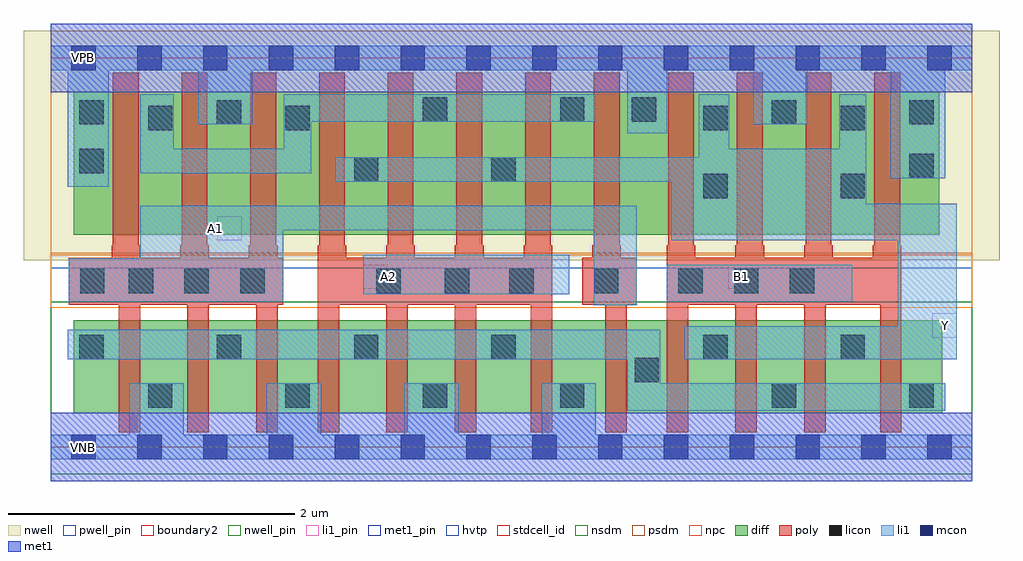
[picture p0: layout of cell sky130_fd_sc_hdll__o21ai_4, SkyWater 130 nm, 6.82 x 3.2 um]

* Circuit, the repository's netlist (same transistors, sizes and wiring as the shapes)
* Copyright 2020 The SkyWater PDK Authors
*
* Licensed under the Apache License, Version 2.0 (the "License");
* you may not use this file except in compliance with the License.
* You may obtain a copy of the License at
*
*     https://www.apache.org/licenses/LICENSE-2.0
*
* Unless required by applicable law or agreed to in writing, software
* distributed under the License is distributed on an "AS IS" BASIS,
* WITHOUT WARRANTIES OR CONDITIONS OF ANY KIND, either express or implied.
* See the License for the specific language governing permissions and
* limitations under the License.
*
* SPDX-License-Identifier: Apache-2.0

.SUBCKT sky130_fd_sc_hdll__o21ai_4 A1 A2 B1 VGND VNB VPB VPWR Y
*.PININFO A1:I A2:I B1:I VGND:I VNB:I VPB:I VPWR:I Y:O
MMPA0 VPWR A1 sndA1 VPB sky130_fd_pr__pfet_01v8_hvt m=4 w=1.0U l=0.18U mult=1 sa=0.265
+ sb=0.265 sd=0.28 area=0.063 perim=1.14
MMPA1 sndA1 A2 Y VPB sky130_fd_pr__pfet_01v8_hvt m=4 w=1.0U l=0.18U mult=1 sa=0.265
+ sb=0.265 sd=0.28 area=0.063 perim=1.14
MMPB0 VPWR B1 Y VPB sky130_fd_pr__pfet_01v8_hvt m=4 w=1.0U l=0.18U mult=1 sa=0.265
+ sb=0.265 sd=0.28 area=0.063 perim=1.14
MMNA0 pndA A1 VGND VNB sky130_fd_pr__nfet_01v8 m=4 w=0.65U l=0.15U mult=1 sa=0.265
+ sb=0.265 sd=0.28 area=0.063 perim=1.14
MMNA1 pndA A2 VGND VNB sky130_fd_pr__nfet_01v8 m=4 w=0.65U l=0.15U mult=1 sa=0.265
+ sb=0.265 sd=0.28 area=0.063 perim=1.14
MMNB0 Y B1 pndA VNB sky130_fd_pr__nfet_01v8 m=4 w=0.65U l=0.15U mult=1 sa=0.265
+ sb=0.265 sd=0.28 area=0.063 perim=1.14
.ENDS sky130_fd_sc_hdll__o21ai_4

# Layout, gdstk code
import gdstk
lib = gdstk.Library(unit=1e-6, precision=1e-09)
def R(c, l, rs):  # rectangles x0, y0, x1, y1
    for r in rs: c.add(gdstk.rectangle(r[:2], r[2:], *l))
def A(c, l, x, y, w, h, nx, ny, dx, dy):  # array of equal rectangles
    R(c, l, [(x+i*dx, y+j*dy, x+i*dx+w, y+j*dy+h) for i in range(nx) for j in range(ny)])
def P(c, l, *ps):  # polygons
    for p in ps: c.add(gdstk.Polygon(p, *l))
nwell_pin = (64, 16)
nwell = (64, 20)
diff = (65, 20)
poly = (66, 20)
licon = (66, 44)
li1_pin = (67, 16)
li1 = (67, 20)
mcon = (67, 44)
met1_pin = (68, 16)
met1 = (68, 20)
hvtp = (78, 44)
stdcell_id = (81, 4)
nsdm = (93, 44)
psdm = (94, 20)
npc = (95, 20)
pwell_pin = (122, 16)
boundary2 = (236, 0)

sky130_fd_sc_hdll__o21ai = lib.new_cell('sky130_fd_sc_hdll__o21ai_4')
R(sky130_fd_sc_hdll__o21ai, nwell_pin, [(0.145,2.635,0.315,2.805)])
R(sky130_fd_sc_hdll__o21ai, nwell, [(-0.19,1.305,6.63,2.91)])
R(sky130_fd_sc_hdll__o21ai, diff, [(0.16,0.235,6.23,0.885), (0.16,1.485,6.21,2.485)])
P(sky130_fd_sc_hdll__o21ai, poly, [(1.625,1.325),(1.585,1.325),(1.585,1.41),(1.575,1.41),(1.575,2.615),(1.395,2.615),(1.395,1.41),(1.385,1.41),(1.385,1.325),(1.105,1.325),(1.105,1.41),(1.095,1.41),(1.095,2.615),(0.915,2.615),(0.915,1.41),(0.905,1.41),(0.905,1.325),(0.625,1.325),(0.625,1.41),(0.615,1.41),(0.615,2.615),(0.435,2.615),(0.435,1.41),(0.425,1.41),(0.425,1.325),(0.125,1.325),(0.125,0.995),(0.475,0.995),(0.475,0.105),(0.625,0.105),(0.625,0.995),(0.955,0.995),(0.955,0.105),(1.105,0.105),(1.105,0.995),(1.435,0.995),(1.435,0.105),(1.585,0.105),(1.585,0.995),(1.625,0.995)],
  [(3.505,1.41),(3.495,1.41),(3.495,2.615),(3.315,2.615),(3.315,1.41),(3.305,1.41),(3.305,1.325),(3.025,1.325),(3.025,1.41),(3.015,1.41),(3.015,2.615),(2.835,2.615),(2.835,1.41),(2.825,1.41),(2.825,1.325),(2.545,1.325),(2.545,1.41),(2.535,1.41),(2.535,2.615),(2.355,2.615),(2.355,1.41),(2.345,1.41),(2.345,1.325),(2.065,1.325),(2.065,1.41),(2.055,1.41),(2.055,2.615),(1.875,2.615),(1.875,1.41),(1.865,1.41),(1.865,0.105),(2.015,0.105),(2.015,0.995),(2.345,0.995),(2.345,0.105),(2.495,0.105),(2.495,0.995),(2.825,0.995),(2.825,0.105),(2.975,0.105),(2.975,0.995),(3.355,0.995),(3.355,0.105),(3.505,0.105)],
  [(4.095,1.325),(3.985,1.325),(3.985,1.41),(3.975,1.41),(3.975,2.615),(3.795,2.615),(3.795,1.41),(3.785,1.41),(3.785,1.325),(3.715,1.325),(3.715,0.995),(3.875,0.995),(3.875,0.105),(4.025,0.105),(4.025,0.995),(4.095,0.995)],
  [(5.945,1.41),(5.935,1.41),(5.935,2.615),(5.755,2.615),(5.755,1.41),(5.745,1.41),(5.745,1.325),(5.465,1.325),(5.465,1.41),(5.455,1.41),(5.455,2.615),(5.275,2.615),(5.275,1.41),(5.265,1.41),(5.265,1.325),(4.985,1.325),(4.985,1.41),(4.975,1.41),(4.975,2.615),(4.795,2.615),(4.795,1.41),(4.785,1.41),(4.785,1.325),(4.505,1.325),(4.505,1.41),(4.495,1.41),(4.495,2.615),(4.315,2.615),(4.315,1.41),(4.305,1.41),(4.305,0.105),(4.455,0.105),(4.455,0.995),(4.785,0.995),(4.785,0.105),(4.935,0.105),(4.935,0.995),(5.265,0.995),(5.265,0.105),(5.415,0.105),(5.415,0.995),(5.795,0.995),(5.795,0.105),(5.945,0.105)])
A(sky130_fd_sc_hdll__o21ai, licon, 0.68, 0.275, 0.17, 0.17, 4, 1, 0.96, 0)
A(sky130_fd_sc_hdll__o21ai, licon, 0.2, 0.615, 0.17, 0.17, 4, 1, 0.96, 0)
A(sky130_fd_sc_hdll__o21ai, licon, 0.545, 1.075, 0.17, 0.17, 3, 1, 0.39, 0)
A(sky130_fd_sc_hdll__o21ai, licon, 3.205, 1.075, 0.17, 0.17, 3, 1, 0.59, 0)
R(sky130_fd_sc_hdll__o21ai, licon, [(5.04,0.275,5.21,0.445), (6,0.275,6.17,0.445), (4.08,0.455,4.25,0.625), (4.56,0.615,4.73,0.785), (5.52,0.615,5.69,0.785), (0.205,1.075,0.375,1.245), (2.275,1.075,2.445,1.245), (2.755,1.075,2.925,1.245), (4.775,1.075,4.945,1.245), (5.165,1.075,5.335,1.245), (4.56,1.74,4.73,1.91), (5.52,1.74,5.69,1.91), (2.12,1.855,2.29,2.025), (3.08,1.855,3.25,2.025), (6,1.88,6.17,2.05), (0.2,1.915,0.37,2.085), (0.68,2.215,0.85,2.385), (1.64,2.215,1.81,2.385), (4.56,2.215,4.73,2.385), (5.52,2.215,5.69,2.385), (0.2,2.255,0.37,2.425), (1.16,2.255,1.33,2.425), (5.04,2.255,5.21,2.425), (6,2.255,6.17,2.425), (2.6,2.275,2.77,2.445), (3.56,2.275,3.73,2.445), (4.06,2.275,4.23,2.445)])
R(sky130_fd_sc_hdll__o21ai, li1_pin, [(6.16,0.765,6.33,0.935), (2.185,1.105,2.355,1.275), (4.735,1.105,4.905,1.275), (1.165,1.445,1.335,1.615)])
R(sky130_fd_sc_hdll__o21ai, li1, [(4.305,1.015,5.6,1.275), (2.185,1.07,3.625,1.345)])
P(sky130_fd_sc_hdll__o21ai, li1, [(6.44,0.085),(3.81,0.085),(3.81,0.445),(3.43,0.445),(3.43,0.085),(2.85,0.085),(2.85,0.445),(2.47,0.445),(2.47,0.085),(1.89,0.085),(1.89,0.445),(1.51,0.445),(1.51,0.085),(0.93,0.085),(0.93,0.445),(0.55,0.445),(0.55,0.085),(0,0.085),(0,-0.085),(6.44,-0.085)],
  [(6.44,2.805),(0,2.805),(0,2.635),(0.12,2.635),(0.12,1.82),(0.405,1.82),(0.405,2.635),(1.03,2.635),(1.03,2.255),(1.41,2.255),(1.41,2.635),(4.03,2.635),(4.03,2.195),(4.31,2.195),(4.31,2.635),(4.91,2.635),(4.91,2.255),(5.29,2.255),(5.29,2.635),(5.87,2.635),(5.87,1.88),(6.25,1.88),(6.25,2.635),(6.44,2.635)],
  [(3.81,2.465),(1.63,2.465),(1.63,2.085),(0.86,2.085),(0.86,2.465),(0.625,2.465),(0.625,1.915),(1.82,1.915),(1.82,2.275),(3.81,2.275)],
  [(4.095,1.685),(0.625,1.685),(0.625,1.32),(0.125,1.32),(0.125,1.015),(1.625,1.015),(1.625,1.515),(3.795,1.515),(3.795,0.99),(4.095,0.99)],
  [(6.25,0.445),(4.26,0.445),(4.26,0.82),(0.12,0.82),(0.12,0.615),(4.03,0.615),(4.03,0.255),(6.25,0.255)],
  [(6.33,1.7),(5.7,1.7),(5.7,2.465),(5.51,2.465),(5.51,2.085),(4.74,2.085),(4.74,2.465),(4.53,2.465),(4.53,2.025),(1.99,2.025),(1.99,1.855),(4.335,1.855),(4.335,1.445),(5.92,1.445),(5.92,0.845),(4.43,0.845),(4.43,0.615),(6.33,0.615)])
A(sky130_fd_sc_hdll__o21ai, mcon, 0.145, -0.085, 0.17, 0.17, 14, 2, 0.46, 2.72)
R(sky130_fd_sc_hdll__o21ai, met1_pin, [(0.145,-0.085,0.315,0.085), (0.145,2.635,0.315,2.805)])
R(sky130_fd_sc_hdll__o21ai, met1, [(0,-0.24,6.44,0.24), (0,2.48,6.44,2.96)])
R(sky130_fd_sc_hdll__o21ai, hvtp, [(0,1.25,6.44,2.72)])
R(sky130_fd_sc_hdll__o21ai, stdcell_id, [(0,0,6.44,2.72)])
R(sky130_fd_sc_hdll__o21ai, nsdm, [(0,-0.19,6.44,1.015)])
R(sky130_fd_sc_hdll__o21ai, psdm, [(0,1.355,6.44,2.91)])
R(sky130_fd_sc_hdll__o21ai, npc, [(0,0.975,6.44,1.345)])
R(sky130_fd_sc_hdll__o21ai, pwell_pin, [(0.145,-0.085,0.315,0.085)])
R(sky130_fd_sc_hdll__o21ai, boundary2, [(0,0,6.44,2.72)])
sky130_fd_sc_hdll__o21ai.add(gdstk.Label('Y', (6.25,0.85), layer=67, texttype=5))
sky130_fd_sc_hdll__o21ai.add(gdstk.Label('B1', (4.83,1.19), layer=67, texttype=5))
sky130_fd_sc_hdll__o21ai.add(gdstk.Label('A2', (2.36,1.19), layer=67, texttype=5))
sky130_fd_sc_hdll__o21ai.add(gdstk.Label('A1', (1.15,1.53), layer=67, texttype=5))
sky130_fd_sc_hdll__o21ai.add(gdstk.Label('VNB', (0.23,0), layer=64, texttype=59))
sky130_fd_sc_hdll__o21ai.add(gdstk.Label('VPB', (0.23,2.72), layer=64, texttype=5))
sky130_fd_sc_hdll__o21ai.add(gdstk.Label('VPWR', (0.23,2.72), layer=68, texttype=5))
sky130_fd_sc_hdll__o21ai.add(gdstk.Label('VGND', (0.23,0), layer=68, texttype=5))
sky130_fd_sc_hdll__o21ai.add(gdstk.Label('o21ai_4', (0,0), layer=83, texttype=44))

lib.write_gds('sky130_fd_sc_hdll__o21ai_4.gds')
